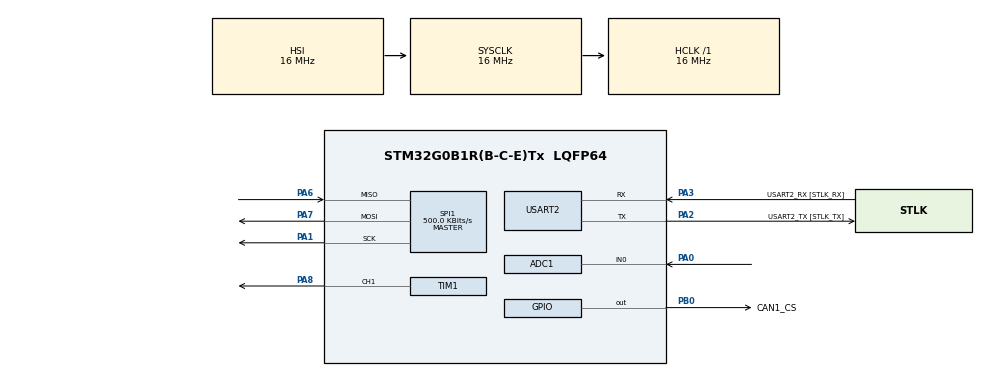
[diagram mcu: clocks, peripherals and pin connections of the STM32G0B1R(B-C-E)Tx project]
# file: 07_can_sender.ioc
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ADC1.Channel-0\#ChannelRegularConversion=ADC_CHANNEL_0
ADC1.NbrOfConversionFlag=1
ADC1.Rank-0\#ChannelRegularConversion=1
ADC1.SamplingTime-0\#ChannelRegularConversion=ADC_SAMPLINGTIME_COMMON_1
ADC1.SamplingTimeCommon1=ADC_SAMPLETIME_39CYCLES_5
ADC1.SamplingTimeCommon2=ADC_SAMPLETIME_39CYCLES_5
ADC1.SelectedChannel=ADC_CHANNEL_0
ADC1.master=1
Mcu.Family=STM32G0
Mcu.Name=STM32G0B1R(B-C-E)Tx
Mcu.Package=LQFP64
PA0.Mode=IN0
PA0.Signal=ADC1_IN0
PA1.Mode=Full_Duplex_Master
PA1.Signal=SPI1_SCK
PA13.GPIO_Label=TMS
PA13.Mode=Serial_Wire
PA13.Signal=SYS_SWDIO
PA14-BOOT0.GPIO_Label=TCK
PA14-BOOT0.Mode=Serial_Wire
PA14-BOOT0.Signal=SYS_SWCLK
PA2.GPIO_Label=USART2_TX [STLK_TX]
PA2.Mode=Asynchronous
PA2.Signal=USART2_TX
PA3.GPIO_Label=USART2_RX [STLK_RX]
PA3.Mode=Asynchronous
PA3.Signal=USART2_RX
PA6.Mode=Full_Duplex_Master
PA6.Signal=SPI1_MISO
PA7.Mode=Full_Duplex_Master
PA7.Signal=SPI1_MOSI
PA8.Signal=S_TIM1_CH1
PB0.GPIO_Label=CAN1_CS
PB0.Signal=GPIO_Output
ProjectManager.HeapSize=0x200
ProjectManager.StackSize=0x400
ProjectManager.TargetToolchain=STM32CubeIDE
RCC.AHBFreq_Value=16000000
RCC.CortexFreq_Value=16000000
RCC.EXTERNAL_CLOCK_VALUE=12288000
RCC.HCLKFreq_Value=16000000
RCC.HSE_VALUE=8000000
RCC.HSI48_VALUE=48000000
RCC.HSI_VALUE=16000000
RCC.SYSCLKFreq_VALUE=16000000
RCC.USBFreq_Value=48000000
RCC.VCOOutputFreq_Value=128000000
SH.S_TIM1_CH1.0=TIM1_CH1,PWM Generation1 CH1
SPI1.BaudRatePrescaler=SPI_BAUDRATEPRESCALER_32
SPI1.CalculateBaudRate=500.0 KBits/s
SPI1.DataSize=SPI_DATASIZE_8BIT
SPI1.Direction=SPI_DIRECTION_2LINES
SPI1.Mode=SPI_MODE_MASTER
SPI1.NSSPMode=SPI_NSS_PULSE_DISABLE
SPI1.VirtualType=VM_MASTER
TIM1.Channel-PWM\ Generation1\ CH1=TIM_CHANNEL_1
TIM1.Period=999
TIM1.Prescaler=15
USART2.VirtualMode-Asynchronous=VM_ASYNC
VP_SYS_VS_DBSignals.Mode=DisableDeadBatterySignals
board=NUCLEO-G0B1RE

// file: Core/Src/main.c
/* USER CODE BEGIN Header */
/**
  ******************************************************************************
  * @file           : main.c
  * @brief          : Main program body
  ******************************************************************************
  * @attention
  *
  * Copyright (c) 2026 STMicroelectronics.
  * All rights reserved.
  *
  * This software is licensed under terms that can be found in the LICENSE file
  * in the root directory of this software component.
  * If no LICENSE file comes with this software, it is provided AS-IS.
  *
  ******************************************************************************
  */
/* USER CODE END Header */
#include "main.h"

/* USER CODE BEGIN Includes */
#include "stdio.h"
#include "string.h"
#include "stdint.h"

/* USER CODE END Includes */

ADC_HandleTypeDef hadc1;

SPI_HandleTypeDef hspi1;

TIM_HandleTypeDef htim1;

UART_HandleTypeDef huart2;

void SystemClock_Config(void);
static void MX_GPIO_Init(void);
static void MX_SPI1_Init(void);
static void MX_TIM1_Init(void);
static void MX_USART2_UART_Init(void);
static void MX_ADC1_Init(void);

int main(void)
{

  /* MCU Configuration--------------------------------------------------------*/

  /* Reset of all peripherals, Initializes the Flash interface and the Systick. */
  HAL_Init();

  /* Configure the system clock */
  SystemClock_Config();

  /* Initialize all configured peripherals */
  MX_GPIO_Init();
  MX_SPI1_Init();
  MX_TIM1_Init();
  MX_USART2_UART_Init();
  MX_ADC1_Init();
  /* USER CODE BEGIN 2 */
  char output_text[128];
  uint32_t adc_value = 0;
  uint32_t duty_cycle_value = 0;
  HAL_TIM_PWM_Start(&htim1, TIM_CHANNEL_1); // see CubeMX Timer -> Mode

  /* USER CODE END 2 */

  /* Infinite loop */
  /* USER CODE BEGIN WHILE */
  while (1)
  {
	  HAL_ADC_Start(&hadc1);
	  HAL_ADC_PollForConversion(&hadc1, HAL_MAX_DELAY);

	  adc_value = HAL_ADC_GetValue(&hadc1);
	  HAL_ADC_Stop(&hadc1);

	  // put Threshold at 500 -> LED can be turned off reliably
	  if (adc_value < 500) {
		  duty_cycle_value = 0;
	  } else {
		  duty_cycle_value = ((adc_value - 500) * 999) / (4095 - 500);
	  }

	  __HAL_TIM_SET_COMPARE(&htim1, TIM_CHANNEL_1, duty_cycle_value);

	  snprintf(output_text, sizeof(output_text), "ADC Value of Potentiometer: %lu, PWM: %lu\r\n", adc_value, duty_cycle_value);
	  HAL_UART_Transmit(&huart2, (uint8_t*) output_text, strlen(output_text), HAL_MAX_DELAY);

	  HAL_Delay(10);
    /* USER CODE END WHILE */

  }
}

void SystemClock_Config(void)
{
  RCC_OscInitTypeDef RCC_OscInitStruct = {0};
  RCC_ClkInitTypeDef RCC_ClkInitStruct = {0};

  /** Configure the main internal regulator output voltage
  */
  HAL_PWREx_ControlVoltageScaling(PWR_REGULATOR_VOLTAGE_SCALE1);

  /** Initializes the RCC Oscillators according to the specified parameters
  * in the RCC_OscInitTypeDef structure.
  */
  RCC_OscInitStruct.OscillatorType = RCC_OSCILLATORTYPE_HSI;
  RCC_OscInitStruct.HSIState = RCC_HSI_ON;
  RCC_OscInitStruct.HSIDiv = RCC_HSI_DIV1;
  RCC_OscInitStruct.HSICalibrationValue = RCC_HSICALIBRATION_DEFAULT;
  RCC_OscInitStruct.PLL.PLLState = RCC_PLL_NONE;
  if (HAL_RCC_OscConfig(&RCC_OscInitStruct) != HAL_OK)
  {
    Error_Handler();
  }

  /** Initializes the CPU, AHB and APB buses clocks
  */
  RCC_ClkInitStruct.ClockType = RCC_CLOCKTYPE_HCLK|RCC_CLOCKTYPE_SYSCLK
                              |RCC_CLOCKTYPE_PCLK1;
  RCC_ClkInitStruct.SYSCLKSource = RCC_SYSCLKSOURCE_HSI;
  RCC_ClkInitStruct.AHBCLKDivider = RCC_SYSCLK_DIV1;
  RCC_ClkInitStruct.APB1CLKDivider = RCC_HCLK_DIV1;

  if (HAL_RCC_ClockConfig(&RCC_ClkInitStruct, FLASH_LATENCY_0) != HAL_OK)
  {
    Error_Handler();
  }
}

static void MX_ADC1_Init(void)
{

  ADC_ChannelConfTypeDef sConfig = {0};

  /** Configure the global features of the ADC (Clock, Resolution, Data Alignment and number of conversion)
  */
  hadc1.Instance = ADC1;
  hadc1.Init.ClockPrescaler = ADC_CLOCK_SYNC_PCLK_DIV2;
  hadc1.Init.Resolution = ADC_RESOLUTION_12B;
  hadc1.Init.DataAlign = ADC_DATAALIGN_RIGHT;
  hadc1.Init.ScanConvMode = ADC_SCAN_DISABLE;
  hadc1.Init.EOCSelection = ADC_EOC_SINGLE_CONV;
  hadc1.Init.LowPowerAutoWait = DISABLE;
  hadc1.Init.LowPowerAutoPowerOff = DISABLE;
  hadc1.Init.ContinuousConvMode = DISABLE;
  hadc1.Init.NbrOfConversion = 1;
  hadc1.Init.DiscontinuousConvMode = DISABLE;
  hadc1.Init.ExternalTrigConv = ADC_SOFTWARE_START;
  hadc1.Init.ExternalTrigConvEdge = ADC_EXTERNALTRIGCONVEDGE_NONE;
  hadc1.Init.DMAContinuousRequests = DISABLE;
  hadc1.Init.Overrun = ADC_OVR_DATA_PRESERVED;
  hadc1.Init.SamplingTimeCommon1 = ADC_SAMPLETIME_39CYCLES_5;
  hadc1.Init.SamplingTimeCommon2 = ADC_SAMPLETIME_39CYCLES_5;
  hadc1.Init.OversamplingMode = DISABLE;
  hadc1.Init.TriggerFrequencyMode = ADC_TRIGGER_FREQ_HIGH;
  if (HAL_ADC_Init(&hadc1) != HAL_OK)
  {
    Error_Handler();
  }

  /** Configure Regular Channel
  */
  sConfig.Channel = ADC_CHANNEL_0;
  sConfig.Rank = ADC_REGULAR_RANK_1;
  sConfig.SamplingTime = ADC_SAMPLINGTIME_COMMON_1;
  if (HAL_ADC_ConfigChannel(&hadc1, &sConfig) != HAL_OK)
  {
    Error_Handler();
  }

}

static void MX_SPI1_Init(void)
{

  /* SPI1 parameter configuration*/
  hspi1.Instance = SPI1;
  hspi1.Init.Mode = SPI_MODE_MASTER;
  hspi1.Init.Direction = SPI_DIRECTION_2LINES;
  hspi1.Init.DataSize = SPI_DATASIZE_8BIT;
  hspi1.Init.CLKPolarity = SPI_POLARITY_LOW;
  hspi1.Init.CLKPhase = SPI_PHASE_1EDGE;
  hspi1.Init.NSS = SPI_NSS_SOFT;
  hspi1.Init.BaudRatePrescaler = SPI_BAUDRATEPRESCALER_32;
  hspi1.Init.FirstBit = SPI_FIRSTBIT_MSB;
  hspi1.Init.TIMode = SPI_TIMODE_DISABLE;
  hspi1.Init.CRCCalculation = SPI_CRCCALCULATION_DISABLE;
  hspi1.Init.CRCPolynomial = 7;
  hspi1.Init.CRCLength = SPI_CRC_LENGTH_DATASIZE;
  hspi1.Init.NSSPMode = SPI_NSS_PULSE_DISABLE;
  if (HAL_SPI_Init(&hspi1) != HAL_OK)
  {
    Error_Handler();
  }

}

static void MX_TIM1_Init(void)
{

  TIM_MasterConfigTypeDef sMasterConfig = {0};
  TIM_OC_InitTypeDef sConfigOC = {0};
  TIM_BreakDeadTimeConfigTypeDef sBreakDeadTimeConfig = {0};

  htim1.Instance = TIM1;
  htim1.Init.Prescaler = 15;
  htim1.Init.CounterMode = TIM_COUNTERMODE_UP;
  htim1.Init.Period = 999;
  htim1.Init.ClockDivision = TIM_CLOCKDIVISION_DIV1;
  htim1.Init.RepetitionCounter = 0;
  htim1.Init.AutoReloadPreload = TIM_AUTORELOAD_PRELOAD_DISABLE;
  if (HAL_TIM_PWM_Init(&htim1) != HAL_OK)
  {
    Error_Handler();
  }
  sMasterConfig.MasterOutputTrigger = TIM_TRGO_RESET;
  sMasterConfig.MasterOutputTrigger2 = TIM_TRGO2_RESET;
  sMasterConfig.MasterSlaveMode = TIM_MASTERSLAVEMODE_DISABLE;
  if (HAL_TIMEx_MasterConfigSynchronization(&htim1, &sMasterConfig) != HAL_OK)
  {
    Error_Handler();
  }
  sConfigOC.OCMode = TIM_OCMODE_PWM1;
  sConfigOC.Pulse = 0;
  sConfigOC.OCPolarity = TIM_OCPOLARITY_HIGH;
  sConfigOC.OCNPolarity = TIM_OCNPOLARITY_HIGH;
  sConfigOC.OCFastMode = TIM_OCFAST_DISABLE;
  sConfigOC.OCIdleState = TIM_OCIDLESTATE_RESET;
  sConfigOC.OCNIdleState = TIM_OCNIDLESTATE_RESET;
  if (HAL_TIM_PWM_ConfigChannel(&htim1, &sConfigOC, TIM_CHANNEL_1) != HAL_OK)
  {
    Error_Handler();
  }
  sBreakDeadTimeConfig.OffStateRunMode = TIM_OSSR_DISABLE;
  sBreakDeadTimeConfig.OffStateIDLEMode = TIM_OSSI_DISABLE;
  sBreakDeadTimeConfig.LockLevel = TIM_LOCKLEVEL_OFF;
  sBreakDeadTimeConfig.DeadTime = 0;
  sBreakDeadTimeConfig.BreakState = TIM_BREAK_DISABLE;
  sBreakDeadTimeConfig.BreakPolarity = TIM_BREAKPOLARITY_HIGH;
  sBreakDeadTimeConfig.BreakFilter = 0;
  sBreakDeadTimeConfig.BreakAFMode = TIM_BREAK_AFMODE_INPUT;
  sBreakDeadTimeConfig.Break2State = TIM_BREAK2_DISABLE;
  sBreakDeadTimeConfig.Break2Polarity = TIM_BREAK2POLARITY_HIGH;
  sBreakDeadTimeConfig.Break2Filter = 0;
  sBreakDeadTimeConfig.Break2AFMode = TIM_BREAK_AFMODE_INPUT;
  sBreakDeadTimeConfig.AutomaticOutput = TIM_AUTOMATICOUTPUT_DISABLE;
  if (HAL_TIMEx_ConfigBreakDeadTime(&htim1, &sBreakDeadTimeConfig) != HAL_OK)
  {
    Error_Handler();
  }
  HAL_TIM_MspPostInit(&htim1);

}

static void MX_USART2_UART_Init(void)
{

  huart2.Instance = USART2;
  huart2.Init.BaudRate = 115200;
  huart2.Init.WordLength = UART_WORDLENGTH_8B;
  huart2.Init.StopBits = UART_STOPBITS_1;
  huart2.Init.Parity = UART_PARITY_NONE;
  huart2.Init.Mode = UART_MODE_TX_RX;
  huart2.Init.HwFlowCtl = UART_HWCONTROL_NONE;
  huart2.Init.OverSampling = UART_OVERSAMPLING_16;
  huart2.Init.OneBitSampling = UART_ONE_BIT_SAMPLE_DISABLE;
  huart2.Init.ClockPrescaler = UART_PRESCALER_DIV1;
  huart2.AdvancedInit.AdvFeatureInit = UART_ADVFEATURE_NO_INIT;
  if (HAL_UART_Init(&huart2) != HAL_OK)
  {
    Error_Handler();
  }
  if (HAL_UARTEx_SetTxFifoThreshold(&huart2, UART_TXFIFO_THRESHOLD_1_8) != HAL_OK)
  {
    Error_Handler();
  }
  if (HAL_UARTEx_SetRxFifoThreshold(&huart2, UART_RXFIFO_THRESHOLD_1_8) != HAL_OK)
  {
    Error_Handler();
  }
  if (HAL_UARTEx_DisableFifoMode(&huart2) != HAL_OK)
  {
    Error_Handler();
  }

}

static void MX_GPIO_Init(void)
{
  GPIO_InitTypeDef GPIO_InitStruct = {0};

  /* GPIO Ports Clock Enable */
  __HAL_RCC_GPIOA_CLK_ENABLE();
  __HAL_RCC_GPIOB_CLK_ENABLE();

  /*Configure GPIO pin Output Level */
  HAL_GPIO_WritePin(CAN1_CS_GPIO_Port, CAN1_CS_Pin, GPIO_PIN_RESET);

  /*Configure GPIO pin : CAN1_CS_Pin */
  GPIO_InitStruct.Pin = CAN1_CS_Pin;
  GPIO_InitStruct.Mode = GPIO_MODE_OUTPUT_PP;
  GPIO_InitStruct.Pull = GPIO_NOPULL;
  GPIO_InitStruct.Speed = GPIO_SPEED_FREQ_LOW;
  HAL_GPIO_Init(CAN1_CS_GPIO_Port, &GPIO_InitStruct);

}

void Error_Handler(void)
{
  __disable_irq();
  while (1)
  {
  }
}
